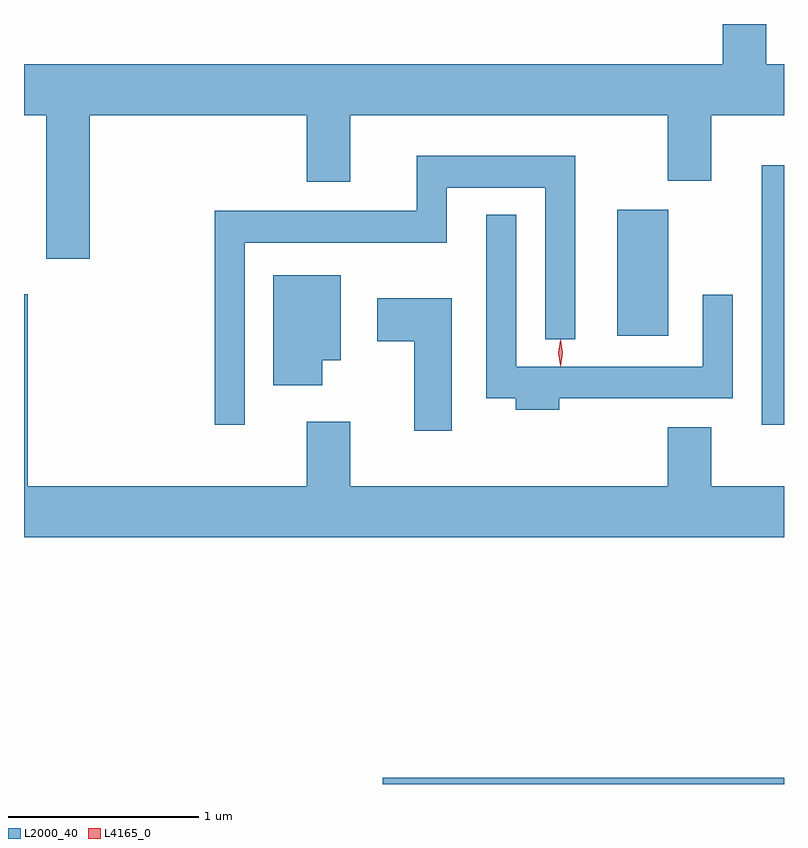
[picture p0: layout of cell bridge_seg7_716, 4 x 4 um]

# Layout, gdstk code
import gdstk
lib = gdstk.Library(unit=1e-6, precision=1e-09)
def R(c, l, rs):  # rectangles x0, y0, x1, y1
    for r in rs: c.add(gdstk.rectangle(r[:2], r[2:], *l))
def P(c, l, *ps):  # polygons
    for p in ps: c.add(gdstk.Polygon(p, *l))
L2000_40 = (2000, 40)
L4165_0 = (4165, 0)

bridge_seg7_716 = lib.new_cell('bridge_seg7_716')
R(bridge_seg7_716, L2000_40, [(606.961,1737.437,609.073,1737.469), (608.956,1739.328,609.073,1740.694), (608.196,1739.796,608.464,1740.459)])
P(bridge_seg7_716, L2000_40, [(605.419,1740.956),(606.561,1740.956),(606.561,1740.606),(606.789,1740.606),(606.789,1740.956),(608.461,1740.956),(608.461,1740.611),(608.689,1740.611),(608.689,1740.956),(609.073,1740.956),(609.073,1741.224),(608.979,1741.224),(608.979,1741.437),(608.751,1741.437),(608.751,1741.224),(605.073,1741.224),(605.073,1740.956),(605.191,1740.956),(605.191,1740.201),(605.419,1740.201)],
  [(606.234,1740.286),(607.299,1740.286),(607.299,1740.576),(607.816,1740.576),(607.816,1739.778),(607.974,1739.778),(607.974,1740.744),(607.141,1740.744),(607.141,1740.454),(606.076,1740.454),(606.076,1739.328),(606.234,1739.328)],
  [(607.889,1739.466),(608.804,1739.466),(608.804,1740.013),(608.646,1740.013),(608.646,1739.634),(607.664,1739.634),(607.664,1740.433),(607.506,1740.433),(607.506,1739.466),(607.661,1739.466),(607.661,1739.406),(607.889,1739.406)],
  [(606.644,1739.666),(606.739,1739.666),(606.739,1740.114),(606.386,1740.114),(606.386,1739.536),(606.644,1739.536)],
  [(609.073,1739.004),(608.689,1739.004),(608.689,1739.314),(608.461,1739.314),(608.461,1739.004),(606.789,1739.004),(606.789,1739.344),(606.561,1739.344),(606.561,1739.004),(605.094,1739.004),(605.094,1740.014),(605.073,1740.014),(605.073,1738.736),(609.073,1738.736)],
  [(607.324,1739.994),(606.931,1739.994),(606.931,1739.766),(607.126,1739.766),(607.126,1739.296),(607.324,1739.296)])
P(bridge_seg7_716, L4165_0, [(607.897,1739.637),(607.888,1739.707),(607.897,1739.776),(607.898,1739.776),(607.898,1739.776),(607.908,1739.707),(607.898,1739.637),(607.898,1739.637)],
  [(607.896,1739.639),(607.896,1739.64),(607.886,1739.706),(607.896,1739.772),(607.896,1739.773),(607.897,1739.772),(607.906,1739.706),(607.897,1739.64)])

lib.write_gds('bridge_seg7_716.gds')
